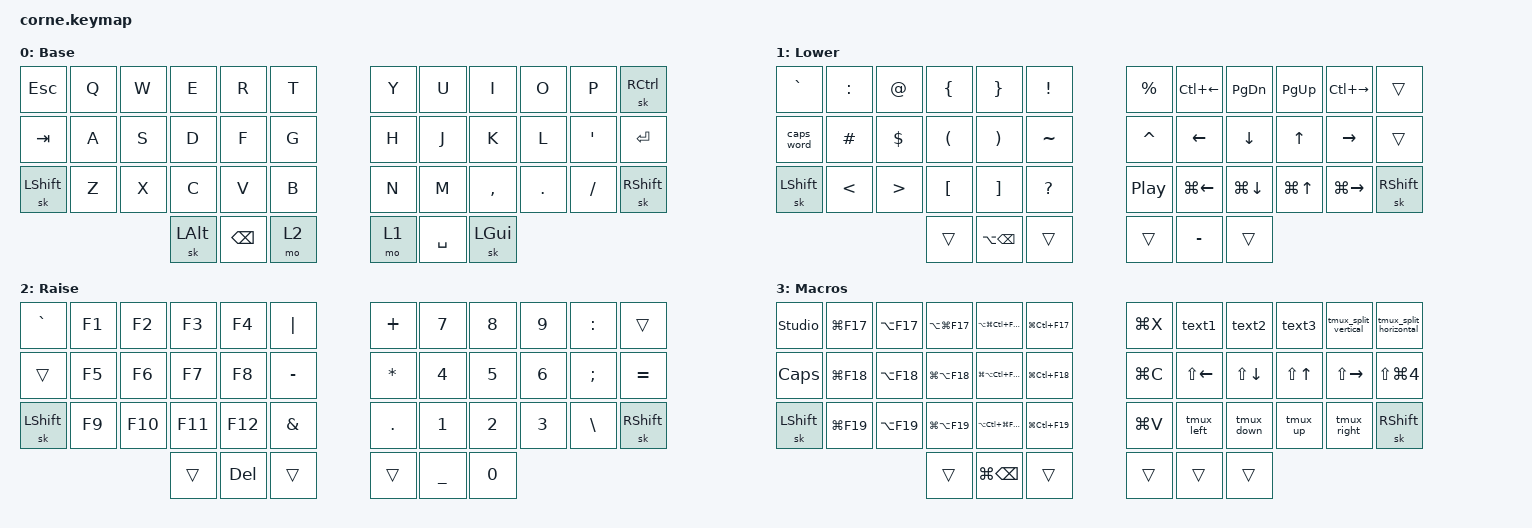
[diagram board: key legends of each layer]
#include <behaviors.dtsi>
#include <dt-bindings/zmk/bt.h>
#include <dt-bindings/zmk/keys.h>

#define BASE 0
#define LOWER 1
#define RAISE 2
#define MACROS 3
#define extra1 4

/ {
    combos {
        compatible = "zmk,combos";

        bt0 {
            bindings = <&bt BT_SEL 0>;
            key-positions = <0 1>;
        };

        bt1 {
            bindings = <&bt BT_SEL 1>;
            key-positions = <0 2>;
        };

        bt2 {
            bindings = <&bt BT_SEL 2>;
            key-positions = <0 3>;
        };

        bt3 {
            bindings = <&bt BT_SEL 3>;
            key-positions = <0 4>;
        };

        bt4 {
            bindings = <&bt BT_SEL 4>;
            key-positions = <0 5>;
        };

        clear_bt {
            bindings = <&bt BT_CLR>;
            key-positions = <11 0>;
        };
    };

    //

    macros {
        text1: text1 {
            compatible = "zmk,behavior-macro";
            #binding-cells = <0>;
            bindings = <&kp R &kp E &kp P &kp L &kp A &kp C &kp E &kp T &kp E &kp X &kp T &kp N1>;
            label = "TEXT1";
        };

        text2: text2 {
            compatible = "zmk,behavior-macro";
            #binding-cells = <0>;
            bindings = <&kp R &kp E &kp P &kp L &kp A &kp C &kp E &kp T &kp E &kp X &kp T &kp N2>;
            label = "TEXT2";
        };

        text3: text3 {
            compatible = "zmk,behavior-macro";
            #binding-cells = <0>;
            bindings = <&kp R &kp E &kp P &kp L &kp A &kp C &kp E &kp T &kp E &kp X &kp T &kp N3>;
            label = "TEXT3";
        };

        text4: text4 {
            compatible = "zmk,behavior-macro";
            #binding-cells = <0>;
            bindings = <&kp R &kp E &kp P &kp L &kp A &kp C &kp E &kp T &kp E &kp X &kp T &kp N4>;
            label = "TEXT4";
        };

        text5: text5 {
            compatible = "zmk,behavior-macro";
            #binding-cells = <0>;
            bindings = <&kp R &kp E &kp P &kp L &kp A &kp C &kp E &kp T &kp E &kp X &kp T &kp N5>;
            label = "TEXT5";
        };

        text6: text6 {
            compatible = "zmk,behavior-macro";
            #binding-cells = <0>;
            bindings = <&kp R &kp E &kp P &kp L &kp A &kp C &kp E &kp T &kp E &kp X &kp T &kp N6>;
            label = "TEXT6";
        };

        tmux_left: tmux_left {
            compatible = "zmk,behavior-macro";
            #binding-cells = <0>;
            bindings = <&kp LC(B) &kp LEFT>;
            label = "TMUX_LEFT";
        };

        tmux_down: tmux_down {
            compatible = "zmk,behavior-macro";
            #binding-cells = <0>;
            bindings = <&kp LC(B) &kp DOWN>;
            label = "TMUX_DOWN";
        };

        tmux_up: tmux_up {
            compatible = "zmk,behavior-macro";
            #binding-cells = <0>;
            bindings = <&kp LC(B) &kp UP_ARROW>;
            label = "TMUX_UP";
        };

        tmux_right: tmux_right {
            compatible = "zmk,behavior-macro";
            #binding-cells = <0>;
            bindings = <&kp LC(B) &kp RIGHT>;
            label = "TMUX_RIGHT";
        };

        tmux_split_vertical: tmux_split_vertical {
            compatible = "zmk,behavior-macro";
            #binding-cells = <0>;
            bindings = <&kp LC(B) &kp PERCENT>;
            label = "TMUX_SPLIT_VERTICAL";
        };

        tmux_split_horizontal: tmux_split_horizontal {
            compatible = "zmk,behavior-macro";
            #binding-cells = <0>;
            bindings = <&kp LC(B) &kp DOUBLE_QUOTES>;
            label = "TMUX_SPLIT_HORIZONTAL";
        };

        vi_save_quit: vi_save_quit {
            compatible = "zmk,behavior-macro";
            #binding-cells = <0>;
            bindings = <&kp ESCAPE &kp COLON &kp W &kp Q>;
            label = "VI_SAVE_QUIT";
        };
    };

    keymap {
        compatible = "zmk,keymap";

        BASE {
            bindings = <
&kp ESCAPE      &kp Q  &kp W  &kp E         &kp R          &kp T    &kp Y  &kp U      &kp I         &kp O    &kp P             &sk RIGHT_CONTROL
&kp TAB         &kp A  &kp S  &kp D         &kp F          &kp G    &kp H  &kp J      &kp K         &kp L    &kp SINGLE_QUOTE  &kp RETURN
&sk LEFT_SHIFT  &kp Z  &kp X  &kp C         &kp V          &kp B    &kp N  &kp M      &kp COMMA     &kp DOT  &kp FSLH          &sk RIGHT_SHIFT
                              &sk LEFT_ALT  &kp BACKSPACE  &mo 2    &mo 1  &kp SPACE  &sk LEFT_GUI
            >;

            label = "Base";
        };

        LOWER {
            bindings = <
&kp GRAVE       &kp COLON      &kp AT            &kp LEFT_BRACE        &kp RIGHT_BRACE        &kp EXCLAMATION    &kp PERCENT       &kp LC(LEFT)  &kp PAGE_DOWN       &kp PAGE_UP       &kp LC(RIGHT)  &trans
&caps_word      &kp HASH       &kp DOLLAR        &kp LEFT_PARENTHESIS  &kp RIGHT_PARENTHESIS  &kp TILDE          &kp CARET         &kp LEFT      &kp DOWN            &kp UP_ARROW      &kp RIGHT      &trans
&sk LEFT_SHIFT  &kp LESS_THAN  &kp GREATER_THAN  &kp LEFT_BRACKET      &kp RIGHT_BRACKET      &kp QUESTION       &kp C_PLAY_PAUSE  &kp LG(LEFT)  &kp LG(DOWN_ARROW)  &kp LG(UP_ARROW)  &kp LG(RIGHT)  &sk RIGHT_SHIFT
                                                 &trans                &kp LA(BACKSPACE)      &trans             &trans            &kp MINUS     &trans
            >;

            label = "Lower";
        };

        RAISE {
            bindings = <
&kp GRAVE       &kp F1  &kp F2   &kp F3   &kp F4      &kp PIPE         &kp PLUS    &kp NUMBER_7    &kp NUMBER_8  &kp NUMBER_9  &kp COLON      &trans
&trans          &kp F5  &kp F6   &kp F7   &kp F8      &kp MINUS        &kp ASTRK   &kp NUMBER_4    &kp N5        &kp NUMBER_6  &kp SEMI       &kp EQUAL
&sk LEFT_SHIFT  &kp F9  &kp F10  &kp F11  &kp F12     &kp AMPERSAND    &kp PERIOD  &kp NUMBER_1    &kp NUMBER_2  &kp NUMBER_3  &kp BACKSLASH  &sk RIGHT_SHIFT
                                 &trans   &kp DELETE  &trans           &trans      &kp UNDERSCORE  &kp NUMBER_0
            >;

            label = "Raise";
        };

        MACROS {
            bindings = <
&studio_unlock  &kp LG(F17)  &kp LA(F17)  &kp LA(LG(F17))  &kp LA(LG(LC(F17)))  &kp LG(LC(F17))    &kp LG(X)  &text1              &text2              &text3            &tmux_split_vertical  &tmux_split_horizontal
&kp CAPSLOCK    &kp LG(F18)  &kp LA(F18)  &kp LG(LA(F18))  &kp LG(LA(LC(F18)))  &kp LG(LC(F18))    &kp LG(C)  &kp LS(LEFT_ARROW)  &kp LS(DOWN_ARROW)  &kp LS(UP_ARROW)  &kp LS(RIGHT_ARROW)   &kp LS(LG(NUMBER_4))
&sk LEFT_SHIFT  &kp LG(F19)  &kp LA(F19)  &kp LG(LA(F19))  &kp LA(LC(LG(F19)))  &kp LG(LC(F19))    &kp LG(V)  &tmux_left          &tmux_down          &tmux_up          &tmux_right           &sk RIGHT_SHIFT
                                          &trans           &kp LG(BACKSPACE)    &trans             &trans     &trans              &trans
            >;

            label = "Macros";
        };

        extra1 { status = "reserved"; };
    };

    conditional_layers {
        compatible = "zmk,conditional-layers";

        l3 {
            if-layers = <1 2>;
            then-layer = <3>;
        };
    };
};
